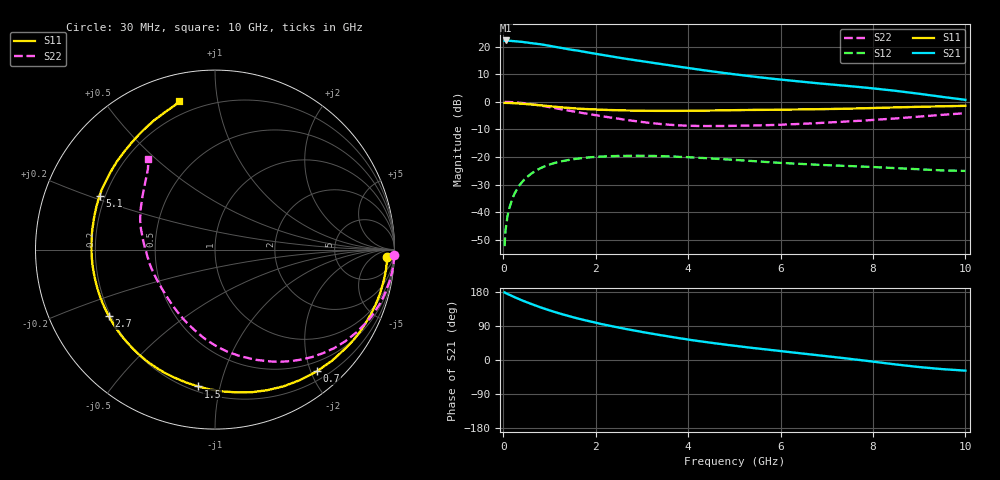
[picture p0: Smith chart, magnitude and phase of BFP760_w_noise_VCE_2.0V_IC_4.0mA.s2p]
! Infineon Technologies  Discrete & RF Semiconductors
! BFP760
! VCE =  2.0 V,  IC =  4.0 mA
! Common Emitter S-Parameters:  Nov 2012
# GHz  S  MA  R  50
!  f  S11  S21  S12  S22
! GHz  MAG  ANG  MAG  ANG  MAG  ANG  MAG  ANG
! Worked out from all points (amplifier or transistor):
!   99 points, 30 MHz to 10 GHz, reference 50 ohm
!   highest |S21| = 22.3 dB at 50 MHz (marker M1)
!   |S21| within 3 dB of that: start of sweep to 1.351 GHz
!   unconditionally stable (mu >= 1): 6.478 GHz to end of sweep
!   at 350 MHz: K = 0.07, MSG = 26.1 dB, |S12| = -30.3 dB
!   at 3.5 GHz: K = 0.43, MSG = 16.6 dB, |S12| = -19.7 dB
!   at 10 GHz: K = 1.40, MAG = 9.1 dB, |S12| = -25.1 dB
!   lowest NFmin = 0.43 dB at 900 MHz
!   S11 on the Smith chart (normalised r, x): 30 MHz: 24, -25; 700 MHz: 0.34, -2.10; 1.5 GHz: 0.23, -0.86; 2.7 GHz: 0.19, -0.28; 5.1 GHz: 0.18, +0.21; 10 GHz: 0.13, +0.78
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0.03  0.9615 -2.4  12.85 178.2  0.0024 84.8  0.9996 -1.8
0.04  0.9617 -3.1  12.87 177.8  0.0035 85.5  0.9989 -2.3
0.05  0.9602 -3.8  13.06 176.6  0.0047 90.3  0.9989 -2.7
0.11  0.9576 -8.3  12.98 173.3  0.0102 86.0  0.9959 -5.9
0.2  0.9514 -15.0  12.73 168.4  0.0177 80.9  0.9876 -10.6
0.4  0.9283 -29.5  12.33 157.8  0.0344 71.5  0.9556 -20.9
0.6  0.8996 -43.3  11.7 148.2  0.0494 62.9  0.9121 -30.5
0.7  0.8843 -50.1  11.41 143.7  0.056 59.0  0.8876 -35.1
0.8  0.8678 -56.9  11.16 139.2  0.0623 55.1  0.8614 -39.6
1  0.8366 -69.3  10.44 131.1  0.0728 47.7  0.8055 -48.1
1.2  0.8061 -80.9  9.736 123.5  0.0813 41.2  0.7506 -55.9
1.5  0.7681 -97.1  8.8 113.3  0.0906 32.7  0.6756 -66.4
1.7  0.7483 -107.4  8.275 107.0  0.0951 27.9  0.6315 -73.0
2.2  0.7173 -129.3  7.01 93.0  0.1023 17.0  0.5394 -88.9
2.7  0.6982 -147.8  5.992 80.9  0.1051 8.1  0.467 -103.3
3.1  0.69 -161.3  5.339 71.9  0.1049 2.1  0.4224 -115.3
3.4  0.6878 -170.3  4.894 65.6  0.1036 -2.0  0.3976 -124.0
4.1  0.6918 172.2  4.017 52.2  0.0981 -9.9  0.3677 -143.4
5.1  0.7097 155.0  3.103 36.2  0.0875 -17.1  0.3696 -164.2
6.7  0.7356 137.3  2.225 14.1  0.073 -20.8  0.4085 170.8
8.5  0.7958 115.4  1.586 -11.8  0.0627 -20.9  0.5015 143.7
10  0.8489 103.5  1.091 -28.1  0.0559 -14.7  0.6248 126.4
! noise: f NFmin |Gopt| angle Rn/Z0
0.9  0.43  0.46  26  0.14
1.8  0.52  0.39  54  0.12
2.4  0.63  0.33  75  0.11
3.5  0.81  0.27  109  0.1
5.5  1.15  0.36  -157  0.08
8  1.69  0.49  -104  0.29
